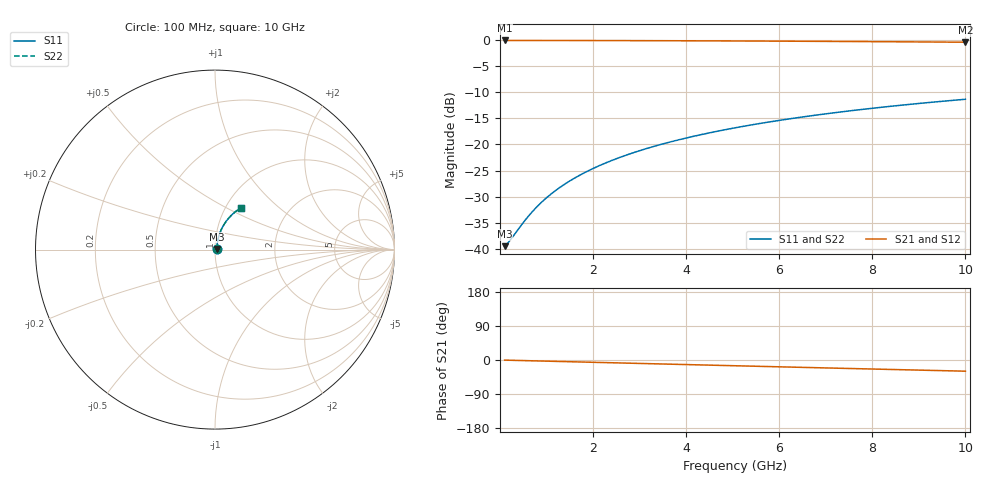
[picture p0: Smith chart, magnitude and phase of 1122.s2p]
# Hz S RI R 50.00
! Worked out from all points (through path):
!   100 points, 100 MHz to 10 GHz, reference 50 ohm
!   highest |S21| = -0.09 dB at 100 MHz (marker M1); lowest = -0.4 dB at 10 GHz (marker M2)
!   group delay of S21, straight-line fit = 8.21 ps
!   lowest |S11| = -39.5 dB at 100 MHz (marker M3), VSWR 1.02, Z = 51 + j0.291 ohm
!   |S11| at or under -10 dB: start of sweep to end of sweep
!   |S22| runs from -39.5 to -11.4 dB; largest |S21 - S12| = 0
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1e8  0.0102 0.00285  0.9898 -0.00523  0.9898 -0.00523  0.0102 0.00285
2e8  0.0103 0.0057  0.9896 -0.0105  0.9896 -0.0105  0.0103 0.0057
5e8  0.0108 0.0142  0.9891 -0.0261  0.9891 -0.0261  0.0108 0.0142
6e8  0.011 0.0171  0.9889 -0.0313  0.9889 -0.0313  0.011 0.0171
7e8  0.0112 0.0199  0.9886 -0.0366  0.9886 -0.0366  0.0112 0.0199
9e8  0.0117 0.0256  0.988 -0.047  0.988 -0.047  0.0117 0.0256
1.1e9  0.0124 0.0312  0.9873 -0.0574  0.9873 -0.0574  0.0124 0.0312
1.3e9  0.0131 0.0369  0.9864 -0.0678  0.9864 -0.0678  0.0131 0.0369
1.5e9  0.014 0.0425  0.9853 -0.0782  0.9853 -0.0782  0.014 0.0425
1.8e9  0.0155 0.0509  0.9835 -0.0937  0.9835 -0.0937  0.0155 0.0509
2.1e9  0.0173 0.0592  0.9814 -0.1091  0.9814 -0.1091  0.0173 0.0592
2.5e9  0.0201 0.0702  0.9781 -0.1296  0.9781 -0.1296  0.0201 0.0702
2.9e9  0.0233 0.081  0.9742 -0.15  0.9742 -0.15  0.0233 0.081
3.4e9  0.028 0.0944  0.9687 -0.1752  0.9687 -0.1752  0.028 0.0944
3.8e9  0.0322 0.1048  0.9636 -0.1952  0.9636 -0.1952  0.0322 0.1048
4.2e9  0.0368 0.115  0.9581 -0.215  0.9581 -0.215  0.0368 0.115
5.1e9  0.0487 0.1372  0.9437 -0.2586  0.9437 -0.2586  0.0487 0.1372
5.9e9  0.0609 0.1558  0.929 -0.2963  0.929 -0.2963  0.0609 0.1558
6.7e9  0.0745 0.1732  0.9125 -0.3328  0.9125 -0.3328  0.0745 0.1732
7.5e9  0.0893 0.1892  0.8943 -0.368  0.8943 -0.368  0.0893 0.1892
8.4e9  0.1074 0.2057  0.8721 -0.4059  0.8721 -0.4059  0.1074 0.2057
1e10  0.1423 0.2303  0.8285 -0.4689  0.8285 -0.4689  0.1423 0.2303
